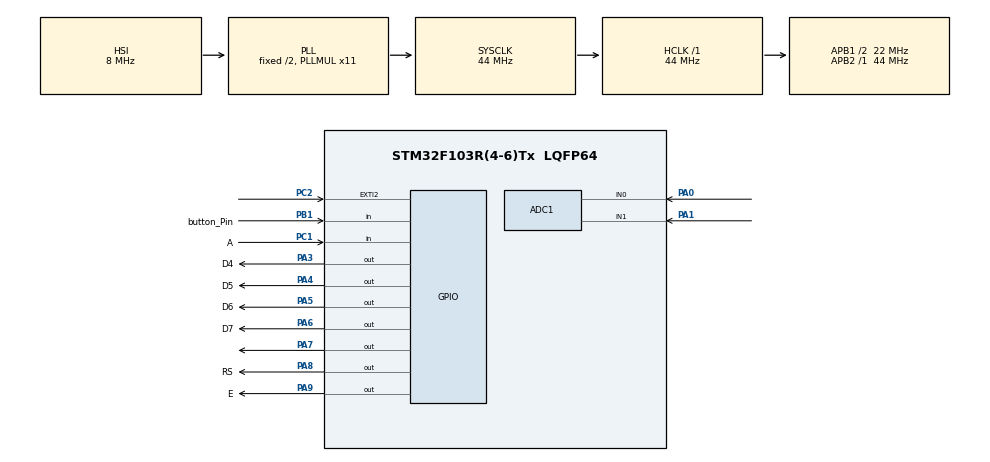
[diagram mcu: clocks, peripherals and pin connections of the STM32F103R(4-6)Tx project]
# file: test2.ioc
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ADC1.Channel-1\#ChannelRegularConversion=ADC_CHANNEL_0
ADC1.NbrOfConversionFlag=1
ADC1.Rank-1\#ChannelRegularConversion=1
ADC1.SamplingTime-1\#ChannelRegularConversion=ADC_SAMPLETIME_1CYCLE_5
ADC1.master=1
Mcu.Family=STM32F1
Mcu.Name=STM32F103R(4-6)Tx
Mcu.Package=LQFP64
NVIC.PriorityGroup=NVIC_PRIORITYGROUP_4
PA0-WKUP.Signal=ADCx_IN0
PA1.Signal=ADCx_IN1
PA3.GPIO_Label=D4
PA3.Signal=GPIO_Output
PA4.GPIO_Label=D5
PA4.Signal=GPIO_Output
PA5.GPIO_Label=D6
PA5.Signal=GPIO_Output
PA6.GPIO_Label=D7
PA6.Signal=GPIO_Output
PA7.Signal=GPIO_Output
PA8.GPIO_Label=RS
PA8.Signal=GPIO_Output
PA9.GPIO_Label=E
PA9.Signal=GPIO_Output
PB1.GPIO_Label=button_Pin
PB1.Signal=GPIO_Input
PC1.GPIO_Label=A
PC1.GPIO_PuPd=GPIO_PULLUP
PC1.Signal=GPIO_Input
PC2.Signal=GPXTI2
ProjectManager.HeapSize=0x200
ProjectManager.StackSize=0x400
ProjectManager.TargetToolchain=STM32CubeIDE
RCC.ADCPresc=RCC_ADCPCLK2_DIV4
RCC.AHBFreq_Value=44000000
RCC.APB1CLKDivider=RCC_HCLK_DIV2
RCC.APB1Freq_Value=22000000
RCC.APB1TimFreq_Value=44000000
RCC.APB2Freq_Value=44000000
RCC.APB2TimFreq_Value=44000000
RCC.HCLKFreq_Value=44000000
RCC.PLLMUL=RCC_PLL_MUL11
RCC.SYSCLKFreq_VALUE=44000000
RCC.SYSCLKSource=RCC_SYSCLKSOURCE_PLLCLK
RCC.USBFreq_Value=44000000
SH.ADCx_IN0.0=ADC1_IN0,IN0
SH.ADCx_IN1.0=ADC1_IN1,IN1
board=custom

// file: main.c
/* USER CODE BEGIN Header */
/**
  ******************************************************************************
  * @file           : main.c
  * @brief          : Main program body
  ******************************************************************************
  * @attention
  *
  * Copyright (c) 2023 STMicroelectronics.
  * All rights reserved.
  *
  * This software is licensed under terms that can be found in the LICENSE file
  * in the root directory of this software component.
  * If no LICENSE file comes with this software, it is provided AS-IS.
  *
  ******************************************************************************
  */
/* USER CODE END Header */
#include "main.h"

/* USER CODE BEGIN Includes */
#include "string.h"
#include "lcd.h"
#include "stdio.h"
/* USER CODE END Includes */

ADC_HandleTypeDef hadc1;

/* USER CODE BEGIN PV */
float voltage_value;
int digitalValue;
float Voltage_ref = 3.0;
char buffer2[20];
float a = 307.7;
float b = -12.49;
float temp;
/* USER CODE END PV */

void SystemClock_Config(void);
static void MX_GPIO_Init(void);
static void MX_ADC1_Init(void);

int main(void)
{

  /* MCU Configuration--------------------------------------------------------*/

  /* Reset of all peripherals, Initializes the Flash interface and the Systick. */
  HAL_Init();

  /* Configure the system clock */
  SystemClock_Config();

  /* Initialize all configured peripherals */
  MX_GPIO_Init();
  MX_ADC1_Init();
  /* USER CODE BEGIN 2 */
  Lcd_PortType ports [] = {
  		D4_GPIO_Port, D5_GPIO_Port, D6_GPIO_Port, D7_GPIO_Port
  };
  Lcd_PinType pins [] = {
  		D4_Pin, D5_Pin, D6_Pin, D7_Pin
  };
  int CW;

  Lcd_HandleTypeDef lcd = Lcd_create(ports, pins, RS_GPIO_Port, RS_Pin, E_GPIO_Port, E_Pin, LCD_4_BIT_MODE);
  /* USER CODE END 2 */

  /* Infinite loop */
  /* USER CODE BEGIN WHILE */
  while (1)
  {

 Lcd_cursor(&lcd, 1,0);
 if (CW == 1){
	 Lcd_string(&lcd,"CW ");
 }
 else{
	Lcd_string(&lcd,"CCW"  );
 }

//
//	  HAL_ADC_Start(&hadc1);
//
//	  if (HAL_ADC_PollForConversion(&hadc1, 5)==HAL_OK){
//		  digitalValue = HAL_ADC_GetValue(&hadc1);
//	  }
//	  if(HAL_GPIO_ReadPin(GPIOB,GPIO_PIN_1)==1){
//	  	  Lcd_cursor(&lcd, 0, 0);
//		  Lcd_string(&lcd, "Distance (cm) :");	  	  Lcd_cursor(&lcd, 1, 0);
//	  	  voltage_value = digitalValue * Voltage_ref / 4095.0;
//	  	  temp =(a*(1 / voltage_value) + b);
//		  sprintf(buffer2, "%d.%8d", (int)voltage_value, (int)(voltage_value * 100000000) % 100000000);
//		  Lcd_string(&lcd,buffer2);
//	  	Lcd_float(&lcd, temp);
//	  }
//	  HAL_ADC_Stop(&hadc1);

    /* USER CODE END WHILE */

  }
}

void SystemClock_Config(void)
{
  RCC_OscInitTypeDef RCC_OscInitStruct = {0};
  RCC_ClkInitTypeDef RCC_ClkInitStruct = {0};
  RCC_PeriphCLKInitTypeDef PeriphClkInit = {0};

  /** Initializes the RCC Oscillators according to the specified parameters
  * in the RCC_OscInitTypeDef structure.
  */
  RCC_OscInitStruct.OscillatorType = RCC_OSCILLATORTYPE_HSI;
  RCC_OscInitStruct.HSIState = RCC_HSI_ON;
  RCC_OscInitStruct.HSICalibrationValue = RCC_HSICALIBRATION_DEFAULT;
  RCC_OscInitStruct.PLL.PLLState = RCC_PLL_ON;
  RCC_OscInitStruct.PLL.PLLSource = RCC_PLLSOURCE_HSI_DIV2;
  RCC_OscInitStruct.PLL.PLLMUL = RCC_PLL_MUL11;
  if (HAL_RCC_OscConfig(&RCC_OscInitStruct) != HAL_OK)
  {
    Error_Handler();
  }

  /** Initializes the CPU, AHB and APB buses clocks
  */
  RCC_ClkInitStruct.ClockType = RCC_CLOCKTYPE_HCLK|RCC_CLOCKTYPE_SYSCLK
                              |RCC_CLOCKTYPE_PCLK1|RCC_CLOCKTYPE_PCLK2;
  RCC_ClkInitStruct.SYSCLKSource = RCC_SYSCLKSOURCE_PLLCLK;
  RCC_ClkInitStruct.AHBCLKDivider = RCC_SYSCLK_DIV1;
  RCC_ClkInitStruct.APB1CLKDivider = RCC_HCLK_DIV2;
  RCC_ClkInitStruct.APB2CLKDivider = RCC_HCLK_DIV1;

  if (HAL_RCC_ClockConfig(&RCC_ClkInitStruct, FLASH_LATENCY_1) != HAL_OK)
  {
    Error_Handler();
  }
  PeriphClkInit.PeriphClockSelection = RCC_PERIPHCLK_ADC;
  PeriphClkInit.AdcClockSelection = RCC_ADCPCLK2_DIV4;
  if (HAL_RCCEx_PeriphCLKConfig(&PeriphClkInit) != HAL_OK)
  {
    Error_Handler();
  }
}

static void MX_ADC1_Init(void)
{

  ADC_ChannelConfTypeDef sConfig = {0};

  /** Common config
  */
  hadc1.Instance = ADC1;
  hadc1.Init.ScanConvMode = ADC_SCAN_DISABLE;
  hadc1.Init.ContinuousConvMode = DISABLE;
  hadc1.Init.DiscontinuousConvMode = DISABLE;
  hadc1.Init.ExternalTrigConv = ADC_SOFTWARE_START;
  hadc1.Init.DataAlign = ADC_DATAALIGN_RIGHT;
  hadc1.Init.NbrOfConversion = 1;
  if (HAL_ADC_Init(&hadc1) != HAL_OK)
  {
    Error_Handler();
  }

  /** Configure Regular Channel
  */
  sConfig.Channel = ADC_CHANNEL_0;
  sConfig.Rank = ADC_REGULAR_RANK_1;
  sConfig.SamplingTime = ADC_SAMPLETIME_1CYCLE_5;
  if (HAL_ADC_ConfigChannel(&hadc1, &sConfig) != HAL_OK)
  {
    Error_Handler();
  }

}

static void MX_GPIO_Init(void)
{
  GPIO_InitTypeDef GPIO_InitStruct = {0};

  /* GPIO Ports Clock Enable */
  __HAL_RCC_GPIOC_CLK_ENABLE();
  __HAL_RCC_GPIOA_CLK_ENABLE();
  __HAL_RCC_GPIOB_CLK_ENABLE();

  /*Configure GPIO pin Output Level */
  HAL_GPIO_WritePin(GPIOA, D4_Pin|D5_Pin|D6_Pin|D7_Pin
                          |GPIO_PIN_7|RS_Pin|E_Pin, GPIO_PIN_RESET);

  /*Configure GPIO pin : A_Pin */
  GPIO_InitStruct.Pin = A_Pin;
  GPIO_InitStruct.Mode = GPIO_MODE_INPUT;
  GPIO_InitStruct.Pull = GPIO_PULLUP;
  HAL_GPIO_Init(A_GPIO_Port, &GPIO_InitStruct);

  /*Configure GPIO pin : PC2 */
  GPIO_InitStruct.Pin = GPIO_PIN_2;
  GPIO_InitStruct.Mode = GPIO_MODE_IT_RISING;
  GPIO_InitStruct.Pull = GPIO_NOPULL;
  HAL_GPIO_Init(GPIOC, &GPIO_InitStruct);

  /*Configure GPIO pins : D4_Pin D5_Pin D6_Pin D7_Pin
                           PA7 RS_Pin E_Pin */
  GPIO_InitStruct.Pin = D4_Pin|D5_Pin|D6_Pin|D7_Pin
                          |GPIO_PIN_7|RS_Pin|E_Pin;
  GPIO_InitStruct.Mode = GPIO_MODE_OUTPUT_PP;
  GPIO_InitStruct.Pull = GPIO_NOPULL;
  GPIO_InitStruct.Speed = GPIO_SPEED_FREQ_LOW;
  HAL_GPIO_Init(GPIOA, &GPIO_InitStruct);

  /*Configure GPIO pin : button_Pin_Pin */
  GPIO_InitStruct.Pin = button_Pin_Pin;
  GPIO_InitStruct.Mode = GPIO_MODE_INPUT;
  GPIO_InitStruct.Pull = GPIO_NOPULL;
  HAL_GPIO_Init(button_Pin_GPIO_Port, &GPIO_InitStruct);

}

void Error_Handler(void)
{
  __disable_irq();
  while (1)
  {
  }
}
